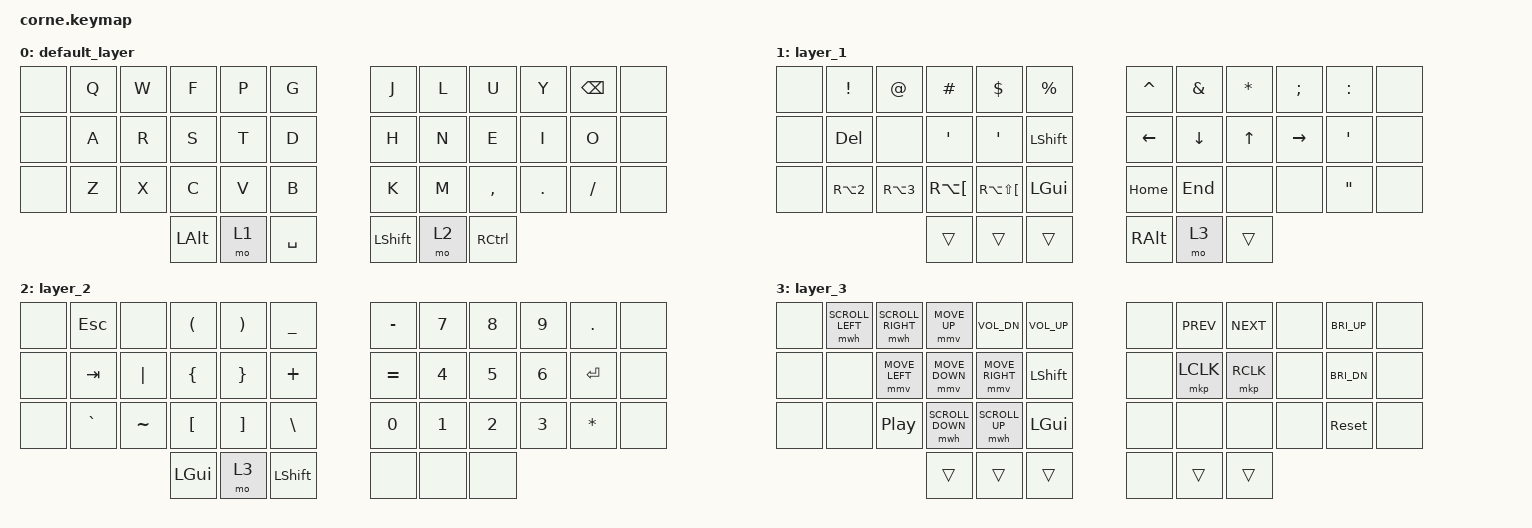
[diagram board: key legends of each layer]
/*
 * Copyright (c) 2020 The ZMK Contributors
 *
 * SPDX-License-Identifier: MIT
 */

#include <behaviors.dtsi>
#include <dt-bindings/zmk/keys.h>
#include <dt-bindings/zmk/bt.h>
#include <dt-bindings/zmk/mouse.h>

/ {
    keymap {
        compatible = "zmk,keymap";

        default_layer {
            // -----------------------------------------------------------------------------------------
            // | xxx |  Q  |  W  |  F  |  P  |  G  |   |  J  |  L   |  U  |  Y  | BKSP | xxx |
            // | xxx |  A  |  R  |  S  |  T  |  D  |   |  H  |  N   |  E  |  I  |  O   | xxx |
            // | xxx |  Z  |  X  |  C  |  V  |  B  |   |  K  |  M   | ,   |  .  |  /   | xxx |
            //                    | ALT |MO 1 | SPC |   | SHT | MO 2 | CTL |

            bindings = <
&none  &kp Q  &kp W  &kp F      &kp P   &kp G        &kp J      &kp L   &kp U      &kp Y    &kp BSPC  &none
&none  &kp A  &kp R  &kp S      &kp T   &kp D        &kp H      &kp N   &kp E      &kp I    &kp O     &none
&none  &kp Z  &kp X  &kp C      &kp V   &kp B        &kp K      &kp M   &kp COMMA  &kp DOT  &kp FSLH  &none
                     &kp LALT   &mo 1   &kp SPACE    &kp LSHFT  &mo 2   &kp RCTRL
            >;
        };

        layer_1 {
            // -----------------------------------------------------------------------------------------
            // | xxx |  !  |  @  |  #  |  $  |  %  |   |  ^  |  &  |  *  |  ;  |  :   | xxx |
            // | xxx | DEL | xxx |  '  |  '  | SHT |   |  ←  |  ↓  |  ↑  |  →  |  '   | xxx |
            // | xxx |  €  |  £  |  "  | <> | CMD |   | HOME| END |  <> | ->  |  "   | xxx |
            //                    | xxx | xxx | xxx |   | ALT |MO 3 | xxx |

            bindings = <
&none  &kp EXCL   &kp AT     &kp HASH       &kp DLLR            &kp PRCNT       &kp CARET  &kp AMPS   &kp STAR  &kp SEMI   &kp COLON  &none
&none  &kp DEL    &none      &kp SQT        &kp SQT             &kp LSHFT       &kp LEFT   &kp DOWN   &kp UP    &kp RIGHT  &kp SQT    &none
&none  &kp RA(N2) &kp RA(N3) &kp RA(LBKT)   &kp RA(LS(LBKT))   &kp LGUI        &kp HOME   &kp END    &none     &none      &kp DQT    &none
                             &trans         &trans              &trans          &kp RALT   &mo 3      &trans
            >;
        };

        layer_2 {
            // -----------------------------------------------------------------------------------------
            // | xxx | ESC | xxx |  (  |  )  |  _  |   |  -  |  7  |  8  |  9  |  .   | xxx |
            // | xxx | TAB |  |  |  {  |  }  |  +  |   |  =  |  4  |  5  |  6  | ENT  | xxx |
            // | xxx |  `  |  ~  |  [  |  ]  |  \  |   |  0  |  1  |  2  |  3  |  *   | xxx |
            //                    | GUI |MO 3 | SHT |   | xxx | xxx | xxx |

            bindings = <
&none  &kp ESC    &none       &kp LPAR  &kp RPAR  &kp UNDER    &kp MINUS  &kp N7  &kp N8  &kp N9  &kp DOT   &none
&none  &kp TAB    &kp PIPE    &kp LBRC  &kp RBRC  &kp PLUS     &kp EQUAL  &kp N4  &kp N5  &kp N6  &kp RET   &none
&none  &kp GRAVE  &kp TILDE   &kp LBKT  &kp RBKT  &kp BSLH     &kp N0     &kp N1  &kp N2  &kp N3  &kp STAR  &none
                              &kp LGUI  &mo 3     &kp LSHFT    &none      &none   &none
            >;
        };

        layer_3 {
            // -----------------------------------------------------------------------------------------
            // | xxx | WHL | WHR | MUP | VDN | VUP |   | xxx | PRV | NXT | xxx | BRI+ | xxx |
            // | xxx | xxx | MLT | MDN | MRT | SHT |   | xxx | MB1 | MB2 | xxx | BRI- | xxx |
            // | xxx | xxx | PLY | WHD | WHU | CMD |   | xxx | xxx | xxx | xxx | RST  | xxx |
            //                    | xxx | xxx | xxx |   | xxx | xxx | xxx |

            bindings = <
&none  &mwh SCROLL_LEFT  &mwh SCROLL_RIGHT  &mmv MOVE_UP      &kp C_VOL_DN     &kp C_VOL_UP    &none  &kp C_PREV  &kp C_NEXT  &none  &kp C_BRI_UP  &none
&none  &none              &mmv MOVE_LEFT     &mmv MOVE_DOWN    &mmv MOVE_RIGHT  &kp LSHFT       &none  &mkp LCLK   &mkp RCLK   &none  &kp C_BRI_DN  &none
&none  &none              &kp C_PP           &mwh SCROLL_DOWN  &mwh SCROLL_UP   &kp LGUI        &none  &none       &none       &none  &sys_reset    &none
                                             &trans            &trans           &trans          &none  &trans      &trans
            >;
        };
    };
};


//For new Layers
    // -----------------------------------------------------------------------------------------
    // |      |     |     |     |     |     |   |     |     |     |     |     |      |
    // |      |     |     |     |     |     |   |     |     |     |     |     |      |
    // |      |     |     |     |     |     |   |     |     |     |     |     |      |
    //                    |     |     |     |   |     |     |     |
